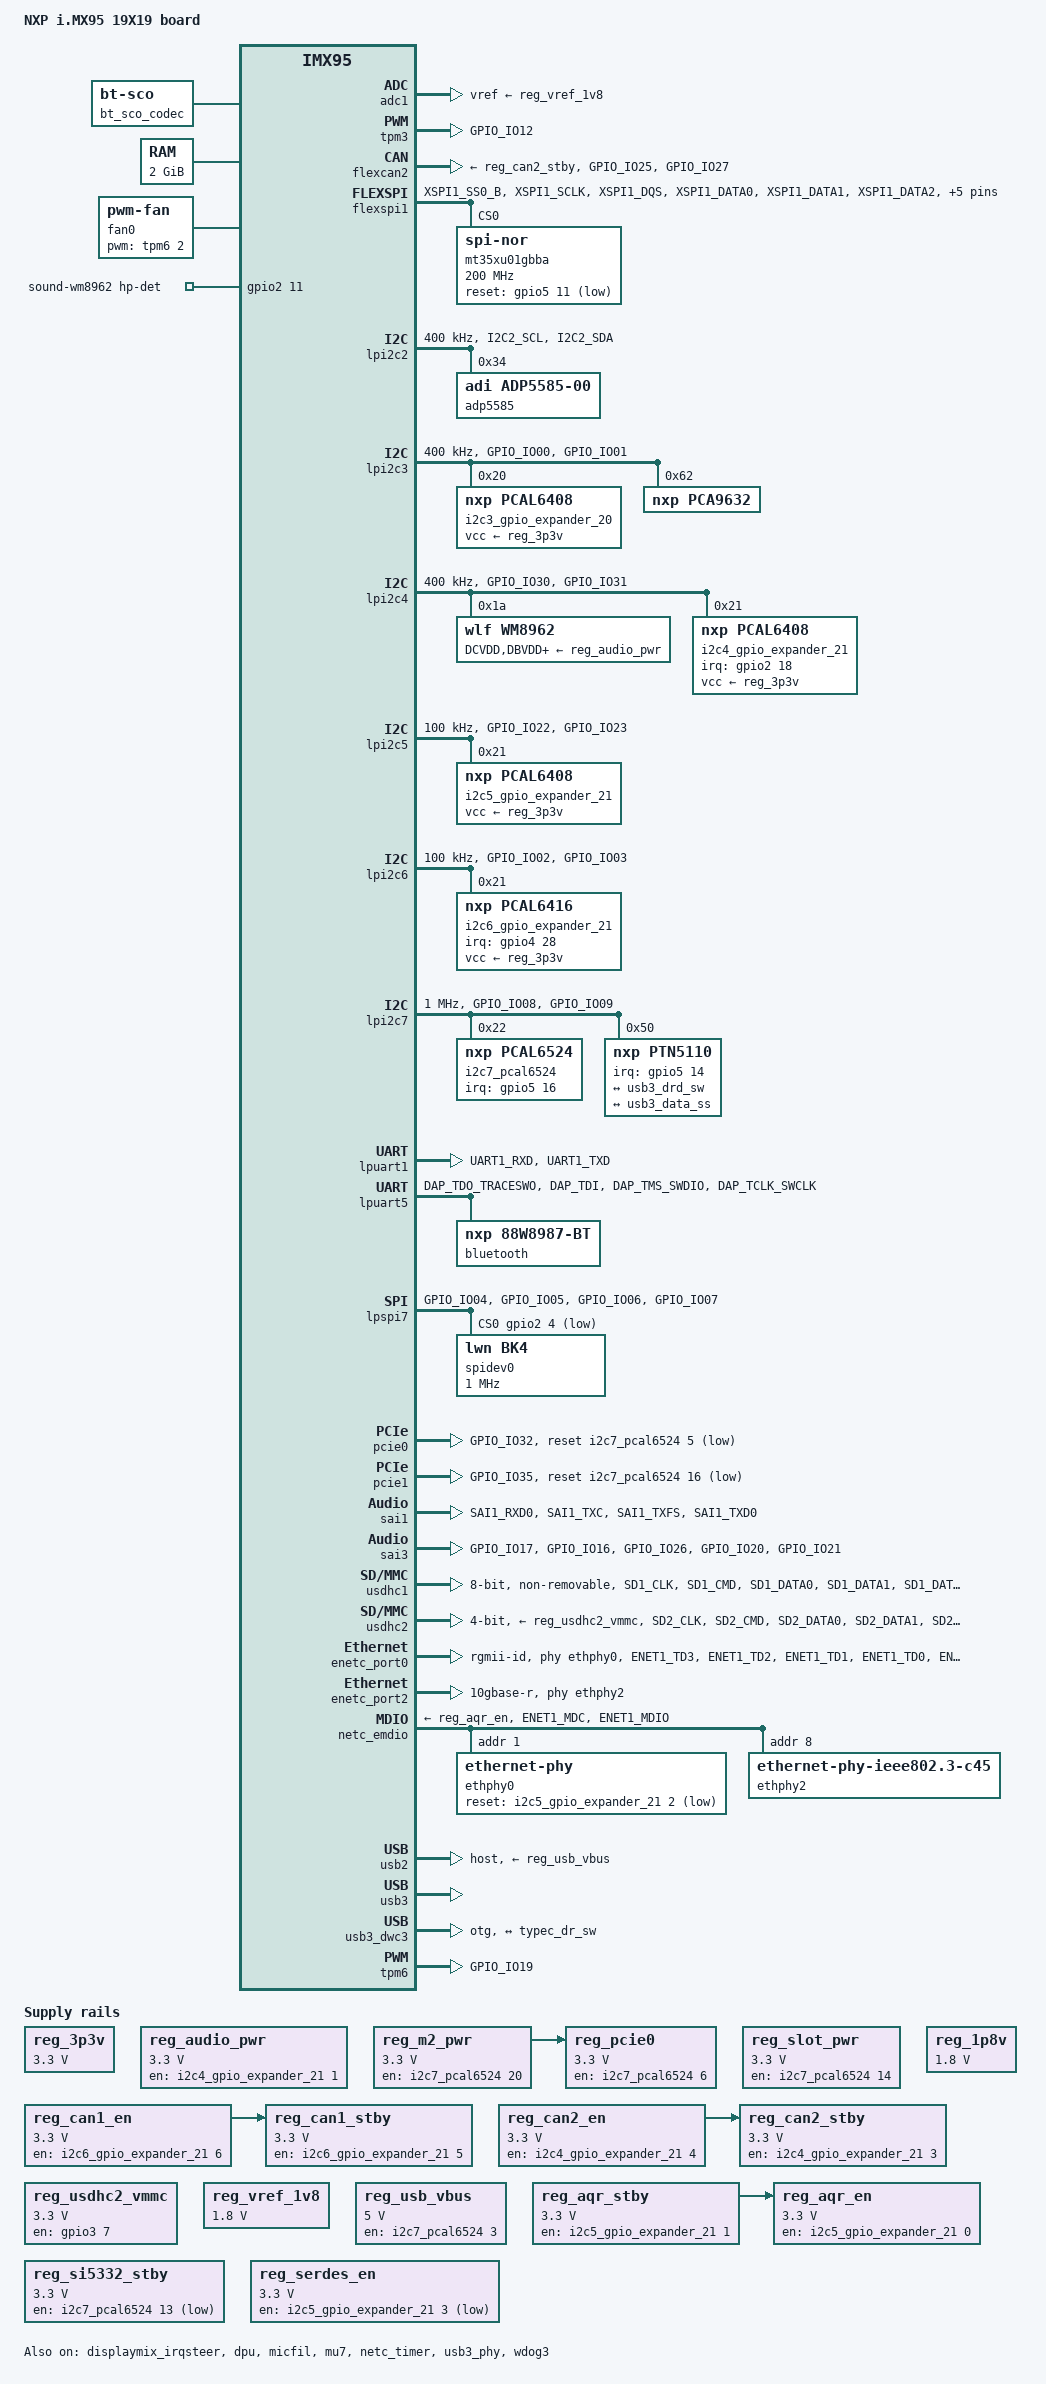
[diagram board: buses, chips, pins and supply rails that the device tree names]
// SPDX-License-Identifier: (GPL-2.0+ OR MIT)
/*
 * Copyright 2024 NXP
 */

/dts-v1/;

#include <dt-bindings/pwm/pwm.h>
#include <dt-bindings/phy/phy-imx8-pcie.h>
#include <dt-bindings/usb/pd.h>
#include "imx95.dtsi"

#define FALLING_EDGE		BIT(0)
#define RISING_EDGE		BIT(1)

#define BRD_SM_CTRL_SD3_WAKE		0x8000	/*!< PCAL6408A-0 */
#define BRD_SM_CTRL_PCIE1_WAKE		0x8001	/*!< PCAL6408A-4 */
#define BRD_SM_CTRL_BT_WAKE		0x8002	/*!< PCAL6408A-5 */
#define BRD_SM_CTRL_PCIE2_WAKE		0x8003	/*!< PCAL6408A-6 */
#define BRD_SM_CTRL_BUTTON		0x8004	/*!< PCAL6408A-7 */

/ {
	model = "NXP i.MX95 19X19 board";
	compatible = "fsl,imx95-19x19-evk", "fsl,imx95";

	aliases {
		mmc0 = &usdhc1;
		mmc1 = &usdhc2;
		serial0 = &lpuart1;
		ethernet0 = &enetc_port0;
		ethernet1 = &enetc_port2;
	};

	bt_sco_codec: audio-codec-bt-sco {
		#sound-dai-cells = <1>;
		compatible = "linux,bt-sco";
	};

	chosen {
		stdout-path = &lpuart1;
		#address-cells = <2>;
		#size-cells = <2>;
		/* will be updated by U-boot when booting Xen */
		module@0 {
			bootargs = "earlycon=xen console=hvc0 loglevel=8 root=/dev/mmcblk1p2 rw rootwait";
			compatible = "xen,linux-zimage", "xen,multiboot-module";
			reg = <0x00000000 0x9e000000 0x00000000 0x2000000>;
		};
	};

	memory@80000000 {
		device_type = "memory";
		reg = <0x0 0x80000000 0 0x80000000>;
	};

	fan0: pwm-fan {
		compatible = "pwm-fan";
		#cooling-cells = <2>;
		pwms = <&tpm6 2 4000000 PWM_POLARITY_INVERTED>;
		cooling-levels = <64 128 192 255>;
	};

	reserved-memory {
		#address-cells = <2>;
		#size-cells = <2>;
		ranges;

		linux_cma: linux,cma {
			compatible = "shared-dma-pool";
			alloc-ranges = <0 0x80000000 0 0x7f000000>;
			size = <0 0x3c000000>;
			linux,cma-default;
			reusable;
		};

		vpu_boot: vpu_boot@a0000000 {
			reg = <0 0xa0000000 0 0x100000>;
			no-map;
		};

		vdev0vring0: vdev0vring0@88000000 {
			reg = <0 0x88000000 0 0x8000>;
			no-map;
		};

		vdev0vring1: vdev0vring1@88008000 {
			reg = <0 0x88008000 0 0x8000>;
			no-map;
		};

		vdev1vring0: vdev1vring0@88010000 {
			reg = <0 0x88010000 0 0x8000>;
			no-map;
		};

		vdev1vring1: vdev1vring1@88018000 {
			reg = <0 0x88018000 0 0x8000>;
			no-map;
		};

		rsc_table: rsc-table@88220000 {
			reg = <0 0x88220000 0 0x1000>;
			no-map;
		};

		vdevbuffer: vdevbuffer@88020000 {
			compatible = "shared-dma-pool";
			reg = <0 0x88020000 0 0x100000>;
			no-map;
		};
	};

	reg_3p3v: regulator-3p3v {
		compatible = "regulator-fixed";
		regulator-max-microvolt = <3300000>;
		regulator-min-microvolt = <3300000>;
		regulator-name = "+V3.3_SW";
	};

	reg_audio_pwr: regulator-audio-pwr {
		compatible = "regulator-fixed";
		regulator-name = "audio-pwr";
		regulator-min-microvolt = <3300000>;
		regulator-max-microvolt = <3300000>;
		gpio = <&i2c4_gpio_expander_21 1 GPIO_ACTIVE_HIGH>;
		enable-active-high;
	};

	reg_m2_pwr: regulator-m2-pwr {
		compatible = "regulator-fixed";
		regulator-name = "M.2-power";
		regulator-min-microvolt = <3300000>;
		regulator-max-microvolt = <3300000>;
		gpio = <&i2c7_pcal6524 20 GPIO_ACTIVE_HIGH>;
		enable-active-high;
	};

	reg_pcie0: regulator-pcie {
		compatible = "regulator-fixed";
		regulator-name = "PCIE_WLAN_EN";
		regulator-min-microvolt = <3300000>;
		regulator-max-microvolt = <3300000>;
		vin-supply = <&reg_m2_pwr>;
		gpio = <&i2c7_pcal6524 6 GPIO_ACTIVE_HIGH>;
		enable-active-high;
		regulator-always-on;
	};

	reg_slot_pwr: regulator-slot-pwr {
		compatible = "regulator-fixed";
		regulator-name = "PCIe slot-power";
		regulator-min-microvolt = <3300000>;
		regulator-max-microvolt = <3300000>;
		gpio = <&i2c7_pcal6524 14 GPIO_ACTIVE_HIGH>;
		enable-active-high;
	};

	reg_1p8v: regulator-1p8v {
		compatible = "regulator-fixed";
		regulator-max-microvolt = <1800000>;
		regulator-min-microvolt = <1800000>;
		regulator-name = "+V1.8_SW";
	};

	reg_can1_stby: regulator-can1-stby {
		compatible = "regulator-fixed";
		regulator-name = "can1-stby";
		regulator-min-microvolt = <3300000>;
		regulator-max-microvolt = <3300000>;
		gpio = <&i2c6_gpio_expander_21 5 GPIO_ACTIVE_HIGH>;
		enable-active-high;
		vin-supply = <&reg_can1_en>;
	};

	reg_can1_en: regulator-can1-en {
		compatible = "regulator-fixed";
		regulator-name = "can1-en";
		regulator-min-microvolt = <3300000>;
		regulator-max-microvolt = <3300000>;
		gpio = <&i2c6_gpio_expander_21 6 GPIO_ACTIVE_HIGH>;
		enable-active-high;
	};

	reg_can2_stby: regulator-can2-stby {
		compatible = "regulator-fixed";
		regulator-name = "can2-stby";
		regulator-min-microvolt = <3300000>;
		regulator-max-microvolt = <3300000>;
		gpio = <&i2c4_gpio_expander_21 3 GPIO_ACTIVE_HIGH>;
		enable-active-high;
		vin-supply = <&reg_can2_en>;
	};

	reg_can2_en: regulator-can2-en {
		compatible = "regulator-fixed";
		regulator-name = "can2-en";
		regulator-min-microvolt = <3300000>;
		regulator-max-microvolt = <3300000>;
		gpio = <&i2c4_gpio_expander_21 4 GPIO_ACTIVE_HIGH>;
		enable-active-high;
	};

	reg_usdhc2_vmmc: regulator-usdhc2 {
		compatible = "regulator-fixed";
		pinctrl-names = "default";
		pinctrl-0 = <&pinctrl_reg_usdhc2_vmmc>;
		regulator-name = "VDD_SD2_3V3";
		regulator-min-microvolt = <3300000>;
		regulator-max-microvolt = <3300000>;
		gpio = <&gpio3 7 GPIO_ACTIVE_HIGH>;
		enable-active-high;
		off-on-delay-us = <12000>;
	};

	reg_vref_1v8: regulator-adc-vref {
		compatible = "regulator-fixed";
		regulator-name = "vref_1v8";
		regulator-min-microvolt = <1800000>;
		regulator-max-microvolt = <1800000>;
	};

	reg_usb_vbus: regulator-vbus {
		compatible = "regulator-fixed";
		regulator-name = "USB_VBUS";
		regulator-min-microvolt = <5000000>;
		regulator-max-microvolt = <5000000>;
		gpio = <&i2c7_pcal6524 3 GPIO_ACTIVE_HIGH>;
		enable-active-high;
	};

	sound-bt-sco {
		compatible = "simple-audio-card";
		simple-audio-card,name = "bt-sco-audio";
		simple-audio-card,format = "dsp_a";
		simple-audio-card,bitclock-inversion;
		simple-audio-card,frame-master = <&btcpu>;
		simple-audio-card,bitclock-master = <&btcpu>;

		btcpu: simple-audio-card,cpu {
			sound-dai = <&sai1>;
			dai-tdm-slot-num = <2>;
			dai-tdm-slot-width = <16>;
		};

		simple-audio-card,codec {
			sound-dai = <&bt_sco_codec 1>;
		};
	};

	sound-micfil {
		compatible = "fsl,imx-audio-card";
		model = "micfil-audio";

		pri-dai-link {
			link-name = "micfil hifi";
			format = "i2s";
			cpu {
				sound-dai = <&micfil>;
			};
		};
	};

	sound-wm8962 {
		compatible = "fsl,imx-audio-wm8962";
		pinctrl-names = "default";
		pinctrl-0 = <&pinctrl_hp>;
		model = "wm8962-audio";
		audio-cpu = <&sai3>;
		audio-codec = <&wm8962>;
		hp-det-gpio = <&gpio2 11 GPIO_ACTIVE_HIGH>;
		audio-routing = "Headphone Jack", "HPOUTL",
				"Headphone Jack", "HPOUTR",
				"Ext Spk", "SPKOUTL",
				"Ext Spk", "SPKOUTR",
				"AMIC", "MICBIAS",
				"IN3R", "AMIC",
				"IN1R", "AMIC";
	};

	reg_aqr_stby: regulator-aqr-stby {
		compatible = "regulator-fixed";
		regulator-name = "aqr-stby";
		regulator-min-microvolt = <3300000>;
		regulator-max-microvolt = <3300000>;
		gpio = <&i2c5_gpio_expander_21 1 GPIO_ACTIVE_HIGH>;
		enable-active-high;
	};

	reg_aqr_en: regulator-aqr-en {
		compatible = "regulator-fixed";
		regulator-name = "aqr-en";
		regulator-min-microvolt = <3300000>;
		regulator-max-microvolt = <3300000>;
		vin-supply = <&reg_aqr_stby>;
		gpio = <&i2c5_gpio_expander_21 0 GPIO_ACTIVE_HIGH>;
		enable-active-high;
	};

	reg_si5332_stby: regulator-si5332-stby {
		compatible = "regulator-fixed";
		regulator-name = "si5332-stby";
		regulator-min-microvolt = <3300000>;
		regulator-max-microvolt = <3300000>;
		gpio = <&i2c7_pcal6524 13 GPIO_ACTIVE_LOW>;
		regulator-always-on;
	};

	reg_serdes_en: regulator-mac-en {
		compatible = "regulator-fixed";
		regulator-name = "mac-en";
		regulator-min-microvolt = <3300000>;
		regulator-max-microvolt = <3300000>;
		gpio = <&i2c5_gpio_expander_21 3 GPIO_ACTIVE_LOW>;
	};

	cm7: imx95-cm7 {
		compatible = "fsl,imx95-cm7";
		mbox-names = "tx", "rx", "rxdb";
		mboxes = <&mu7 0 1
			  &mu7 1 1
			  &mu7 3 1>;
		memory-region = <&vdevbuffer>, <&vdev0vring0>, <&vdev0vring1>,
				<&vdev1vring0>, <&vdev1vring1>, <&rsc_table>;
		fsl,startup-delay-ms = <50>;
		status = "okay";
	};
};

&adc1 {
	vref-supply = <&reg_vref_1v8>;
	status = "okay";
};

&displaymix_irqsteer {
	status = "okay";
};

&dpu {
	status = "okay";
};

&tpm3 {
	pinctrl-names = "default";
	pinctrl-0 = <&pinctrl_tpm3>;
	status = "okay";
};

/* pin conflict with PDM */
&flexcan1 {
	pinctrl-names = "default";
	pinctrl-0 = <&pinctrl_flexcan1>;
	xceiver-supply = <&reg_can1_stby>;
	status = "disabled";
};

&flexcan2 {
	pinctrl-names = "default";
	pinctrl-0 = <&pinctrl_flexcan2>;
	xceiver-supply = <&reg_can2_stby>;
	status = "okay";
};

&flexspi1 {
	pinctrl-names = "default";
	pinctrl-0 = <&pinctrl_flexspi1>;
	status = "okay";

	mt35xu01gbba: flash@0 {
		compatible = "jedec,spi-nor";
		reg = <0>;
		pinctrl-names = "default";
		pinctrl-0 = <&pinctrl_flexspi1_reset>;
		reset-gpios = <&gpio5 11 GPIO_ACTIVE_LOW>;
		#address-cells = <1>;
		#size-cells = <1>;
		spi-max-frequency = <200000000>;
		spi-tx-bus-width = <8>;
		spi-rx-bus-width = <8>;
	};
};

&lpi2c2 {
	clock-frequency = <400000>;
	pinctrl-names = "default";
	pinctrl-0 = <&pinctrl_lpi2c2>;
	status = "okay";

	adp5585: io-expander@34 {
		compatible = "adi,adp5585-00", "adi,adp5585";
		reg = <0x34>;
		gpio-controller;
		#gpio-cells = <2>;
		gpio-reserved-ranges = <5 1>;
		#pwm-cells = <3>;
	};
};

&lpi2c3 {
	clock-frequency = <400000>;
	pinctrl-names = "default";
	pinctrl-0 = <&pinctrl_lpi2c3>;
	status = "okay";

	i2c3_gpio_expander_20: i2c3-gpio-expander@20 {
		compatible = "nxp,pcal6408";
		#gpio-cells = <2>;
		gpio-controller;
		reg = <0x20>;
		vcc-supply = <&reg_3p3v>;
	};

	pca9632: pca9632@62 {
		compatible = "nxp,pca9632";
		#address-cells = <1>;
		#size-cells = <0>;
		reg = <0x62>;

		led_baclklight: led@0 {
			label = "backlight";
			reg = <0>;
			linux,default-trigger = "none";
		};
	};
};

&lpi2c4 {
	clock-frequency = <400000>;
	pinctrl-names = "default";
	pinctrl-0 = <&pinctrl_lpi2c4>;
	status = "okay";

	wm8962: audio-codec@1a {
		compatible = "wlf,wm8962";
		reg = <0x1a>;
		clocks = <&scmi_clk IMX95_CLK_SAI3>;
		DCVDD-supply = <&reg_audio_pwr>;
		DBVDD-supply = <&reg_audio_pwr>;
		AVDD-supply = <&reg_audio_pwr>;
		CPVDD-supply = <&reg_audio_pwr>;
		MICVDD-supply = <&reg_audio_pwr>;
		PLLVDD-supply = <&reg_audio_pwr>;
		SPKVDD1-supply = <&reg_audio_pwr>;
		SPKVDD2-supply = <&reg_audio_pwr>;
		gpio-cfg = < 0x0000 /* 0:Default */
			     0x0000 /* 1:Default */
			     0x0000 /* 2:FN_DMICCLK */
			     0x0000 /* 3:Default */
			     0x0000 /* 4:FN_DMICCDAT */
			     0x0000 /* 5:Default */
			   >;
	};

	i2c4_gpio_expander_21: gpio@21 {
		compatible = "nxp,pcal6408";
		reg = <0x21>;
		#gpio-cells = <2>;
		gpio-controller;
		interrupt-controller;
		#interrupt-cells = <2>;
		interrupt-parent = <&gpio2>;
		interrupts = <18 IRQ_TYPE_LEVEL_LOW>;
		pinctrl-names = "default";
		pinctrl-0 = <&pinctrl_i2c4_pcal6408>;
		vcc-supply = <&reg_3p3v>;
	};
};

&lpi2c5 {
	clock-frequency = <100000>;
	pinctrl-names = "default";
	pinctrl-0 = <&pinctrl_lpi2c5>;
	status = "okay";

	i2c5_gpio_expander_21: i2c5-gpio-expander@21 {
		compatible = "nxp,pcal6408";
		#gpio-cells = <2>;
		gpio-controller;
		reg = <0x21>;
		vcc-supply = <&reg_3p3v>;
	};
};

&lpi2c6 {
	clock-frequency = <100000>;
	pinctrl-names = "default";
	pinctrl-0 = <&pinctrl_lpi2c6>;
	status = "okay";

	i2c6_gpio_expander_21: i2c6-gpio-expander@21 {
		compatible = "nxp,pcal6416";
		#gpio-cells = <2>;
		gpio-controller;
		reg = <0x21>;
		interrupt-controller;
		#interrupt-cells = <2>;
		interrupt-parent = <&gpio4>;
		interrupts = <28 IRQ_TYPE_LEVEL_LOW>;
		pinctrl-names = "default";
		pinctrl-0 = <&pinctrl_pcal6416>;
		vcc-supply = <&reg_3p3v>;
	};
};

&lpi2c7 {
	clock-frequency = <1000000>;
	pinctrl-names = "default";
	pinctrl-0 = <&pinctrl_lpi2c7>;
	status = "okay";

	i2c7_pcal6524: i2c7-gpio@22 {
		compatible = "nxp,pcal6524";
		reg = <0x22>;
		pinctrl-names = "default";
		pinctrl-0 = <&pinctrl_i2c7_pcal6524>;
		gpio-controller;
		#gpio-cells = <2>;
		interrupt-controller;
		#interrupt-cells = <2>;
		interrupt-parent = <&gpio5>;
		interrupts = <16 IRQ_TYPE_LEVEL_LOW>;
	};

	ptn5110: tcpc@50 {
		compatible = "nxp,ptn5110";
		reg = <0x50>;
		interrupt-parent = <&gpio5>;
		interrupts = <14 IRQ_TYPE_LEVEL_LOW>;
		pinctrl-names = "default";
		pinctrl-0 = <&pinctrl_ptn5110>;

		port {
			typec_dr_sw: endpoint {
				remote-endpoint = <&usb3_drd_sw>;
			};
		};

		typec_con: connector {
			compatible = "usb-c-connector";
			label = "USB-C";
			power-role = "dual";
			data-role = "dual";
			try-power-role = "sink";
			source-pdos = <PDO_FIXED(5000, 3000, PDO_FIXED_USB_COMM)>;
			sink-pdos = <PDO_FIXED(5000, 0, PDO_FIXED_USB_COMM)>;
			op-sink-microwatt = <0>;
			self-powered;

			ports {
				#address-cells = <1>;
				#size-cells = <0>;

				port@1 {
					reg = <1>;
					typec_con_ss: endpoint {
						remote-endpoint = <&usb3_data_ss>;
					};
				};
			};
		};
	};
};

&lpuart1 {
	/* console */
	pinctrl-names = "default";
	pinctrl-0 = <&pinctrl_uart1>;
	status = "okay";
};

&lpuart5 {
	/* BT */
	pinctrl-names = "default";
	pinctrl-0 = <&pinctrl_uart5>;
	status = "okay";

	bluetooth {
		compatible = "nxp,88w8987-bt";
		/* U-blox 88Q9098 module use the 3Mbps by default */
		fw-init-baudrate = <3000000>;
	};
};

&lpspi7 {
	fsl,spi-num-chipselects = <1>;
	pinctrl-names = "default";
	pinctrl-0 = <&pinctrl_lpspi7>;
	cs-gpios = <&gpio2 4 GPIO_ACTIVE_LOW>;
	status = "okay";

	spidev0: spi@0 {
		reg = <0>;
		compatible = "lwn,bk4";
		spi-max-frequency = <1000000>;
	};
};

&micfil {
	#sound-dai-cells = <0>;
	pinctrl-names = "default";
	pinctrl-0 = <&pinctrl_pdm>;
	assigned-clocks = <&scmi_clk IMX95_CLK_AUDIOPLL1_VCO>,
			  <&scmi_clk IMX95_CLK_AUDIOPLL2_VCO>,
			  <&scmi_clk IMX95_CLK_AUDIOPLL1>,
			  <&scmi_clk IMX95_CLK_AUDIOPLL2>,
			  <&scmi_clk IMX95_CLK_PDM>;
	assigned-clock-parents = <0>, <0>, <0>, <0>,
				 <&scmi_clk IMX95_CLK_AUDIOPLL1>;
	assigned-clock-rates = <3932160000>,
			       <3612672000>, <393216000>,
			       <361267200>, <49152000>;
	status = "okay";
};

&mu7 {
	status = "okay";
};

&pcie0 {
	pinctrl-0 = <&pinctrl_pcie0>;
	pinctrl-names = "default";
	reset-gpio = <&i2c7_pcal6524 5 GPIO_ACTIVE_LOW>;
	vpcie-supply = <&reg_pcie0>;
	status = "okay";
};

&pcie1 {
	pinctrl-0 = <&pinctrl_pcie1>;
	pinctrl-names = "default";
	reset-gpio = <&i2c7_pcal6524 16 GPIO_ACTIVE_LOW>;
	vpcie-supply = <&reg_slot_pwr>;
	status = "okay";
};

&pcie1_ep {
	pinctrl-0 = <&pinctrl_pcie1>;
	pinctrl-names = "default";
	vpcie-supply = <&reg_slot_pwr>;
	status = "disabled";
};

&sai1 {
	#sound-dai-cells = <0>;
	pinctrl-names = "default";
	pinctrl-0 = <&pinctrl_sai1>;
	assigned-clocks = <&scmi_clk IMX95_CLK_AUDIOPLL1_VCO>,
			  <&scmi_clk IMX95_CLK_AUDIOPLL2_VCO>,
			  <&scmi_clk IMX95_CLK_AUDIOPLL1>,
			  <&scmi_clk IMX95_CLK_AUDIOPLL2>,
			  <&scmi_clk IMX95_CLK_SAI1>;
	assigned-clock-parents = <0>, <0>, <0>, <0>,
				 <&scmi_clk IMX95_CLK_AUDIOPLL1>;
	assigned-clock-rates = <3932160000>,
			       <3612672000>, <393216000>,
			       <361267200>, <12288000>;
	fsl,sai-mclk-direction-output;
	status = "okay";
};

&sai3 {
	#sound-dai-cells = <0>;
	pinctrl-names = "default";
	pinctrl-0 = <&pinctrl_sai3>;
	assigned-clocks = <&scmi_clk IMX95_CLK_AUDIOPLL1_VCO>,
			  <&scmi_clk IMX95_CLK_AUDIOPLL2_VCO>,
			  <&scmi_clk IMX95_CLK_AUDIOPLL1>,
			  <&scmi_clk IMX95_CLK_AUDIOPLL2>,
			  <&scmi_clk IMX95_CLK_SAI3>;
	assigned-clock-parents = <0>, <0>, <0>, <0>,
				 <&scmi_clk IMX95_CLK_AUDIOPLL1>;
	assigned-clock-rates = <3932160000>,
			       <3612672000>, <393216000>,
			       <361267200>, <12288000>;
	fsl,sai-mclk-direction-output;
	status = "okay";
};

&usdhc1 {
	pinctrl-names = "default", "state_100mhz", "state_200mhz", "sleep";
	pinctrl-0 = <&pinctrl_usdhc1>;
	pinctrl-1 = <&pinctrl_usdhc1_100mhz>;
	pinctrl-2 = <&pinctrl_usdhc1_200mhz>;
	pinctrl-3 = <&pinctrl_usdhc1>;
	bus-width = <8>;
	non-removable;
	no-sdio;
	no-sd;
	status = "okay";
};

&usdhc2 {
	pinctrl-names = "default", "state_100mhz", "state_200mhz", "sleep";
	pinctrl-0 = <&pinctrl_usdhc2>, <&pinctrl_usdhc2_gpio>;
	pinctrl-1 = <&pinctrl_usdhc2_100mhz>, <&pinctrl_usdhc2_gpio>;
	pinctrl-2 = <&pinctrl_usdhc2_200mhz>, <&pinctrl_usdhc2_gpio>;
	pinctrl-3 = <&pinctrl_usdhc2>, <&pinctrl_usdhc2_gpio>;
	cd-gpios = <&gpio3 0 GPIO_ACTIVE_LOW>;
	fsl,cd-gpio-wakeup-disable;
	vmmc-supply = <&reg_usdhc2_vmmc>;
	bus-width = <4>;
	status = "okay";
};

&enetc_port0 {
	pinctrl-names = "default";
	pinctrl-0 = <&pinctrl_enetc0>;
	phy-handle = <&ethphy0>;
	phy-mode = "rgmii-id";
	status = "okay";
};

&enetc_port2 {
	phy-handle = <&ethphy2>;
	phy-mode = "10gbase-r";
	serdes-supply = <&reg_serdes_en>;
	managed = "in-band-status";
	status = "okay";
};

&netc_timer {
	status = "okay";
};

&netc_emdio {
	pinctrl-names = "default";
	pinctrl-0 = <&pinctrl_emdio>;
	phy-supply = <&reg_aqr_en>;
	status = "okay";

	ethphy0: ethernet-phy@1 {
		reg = <1>;
		reset-gpios = <&i2c5_gpio_expander_21 2 GPIO_ACTIVE_LOW>;
		reset-assert-us = <10000>;
		reset-deassert-us = <80000>;
		realtek,clkout-disable;
	};

	ethphy2: ethernet-phy@8 {
		compatible = "ethernet-phy-ieee802.3-c45";
		reg = <8>;
	};
};

&usb2 {
	dr_mode = "host";
	vbus-supply = <&reg_usb_vbus>;
	disable-over-current;
	status = "okay";
};

&usb3 {
	status = "okay";
};

&usb3_phy {
	status = "okay";
	port {
		usb3_data_ss: endpoint {
			remote-endpoint = <&typec_con_ss>;
		};
	};
};

&usb3_dwc3 {
	dr_mode = "otg";
	hnp-disable;
	srp-disable;
	adp-disable;
	usb-role-switch;
	role-switch-default-mode = "none";
	snps,dis-u1-entry-quirk;
	snps,dis-u2-entry-quirk;
	status = "okay";

	port {
		usb3_drd_sw: endpoint {
			remote-endpoint = <&typec_dr_sw>;
		};
	};
};

&scmi_misc {
	nxp,ctrl-ids = <BRD_SM_CTRL_SD3_WAKE		1
			BRD_SM_CTRL_PCIE1_WAKE		1
			BRD_SM_CTRL_BT_WAKE		1
			BRD_SM_CTRL_PCIE2_WAKE		1
			BRD_SM_CTRL_BUTTON		1>;
};

&wdog3 {
	fsl,ext-reset-output;
	status = "okay";
};

&scmi_iomuxc {
	pinctrl_flexspi1: flexspi1grp {
		fsl,pins = <
			IMX95_PAD_XSPI1_SS0_B__FLEXSPI1_A_SS0_B			0x3fe
			IMX95_PAD_XSPI1_SCLK__FLEXSPI1_A_SCLK			0x3fe
			IMX95_PAD_XSPI1_DQS__FLEXSPI1_A_DQS			0x3fe
			IMX95_PAD_XSPI1_DATA0__FLEXSPI1_A_DATA_BIT0		0x3fe
			IMX95_PAD_XSPI1_DATA1__FLEXSPI1_A_DATA_BIT1		0x3fe
			IMX95_PAD_XSPI1_DATA2__FLEXSPI1_A_DATA_BIT2		0x3fe
			IMX95_PAD_XSPI1_DATA3__FLEXSPI1_A_DATA_BIT3		0x3fe
			IMX95_PAD_XSPI1_DATA4__FLEXSPI1_A_DATA_BIT4		0x3fe
			IMX95_PAD_XSPI1_DATA5__FLEXSPI1_A_DATA_BIT5		0x3fe
			IMX95_PAD_XSPI1_DATA6__FLEXSPI1_A_DATA_BIT6		0x3fe
			IMX95_PAD_XSPI1_DATA7__FLEXSPI1_A_DATA_BIT7		0x3fe
		>;
	};

	pinctrl_flexspi1_reset: flexspi1-reset-grp {
		fsl,pins = <
			IMX95_PAD_XSPI1_SS1_B__GPIO5_IO_BIT11			0x3fe
		>;
	};

	pinctrl_hp: hpgrp {
		fsl,pins = <
			IMX95_PAD_GPIO_IO11__GPIO2_IO_BIT11		0x31e
		>;
	};

	pinctrl_i2c4_pcal6408: i2c4pcal6498grp {
		fsl,pins = <
			IMX95_PAD_GPIO_IO18__GPIO2_IO_BIT18			0x31e
		>;
	};

	pinctrl_i2c7_pcal6524: i2c7pcal6524grp {
		fsl,pins = <
			IMX95_PAD_GPIO_IO36__GPIO5_IO_BIT16			0x31e
		>;
	};

	pinctrl_tpm3: tpm3grp {
		fsl,pins = <
			IMX95_PAD_GPIO_IO12__TPM3_CH2			0x51e
		>;
	};

	pinctrl_flexcan1: flexcan1grp {
		fsl,pins = <
			IMX95_PAD_PDM_CLK__AONMIX_TOP_CAN1_TX		0x39e
			IMX95_PAD_PDM_BIT_STREAM0__AONMIX_TOP_CAN1_RX	0x39e
		>;
	};

	pinctrl_flexcan2: flexcan2grp {
		fsl,pins = <
			IMX95_PAD_GPIO_IO25__CAN2_TX			0x39e
			IMX95_PAD_GPIO_IO27__CAN2_RX			0x39e
		>;
	};

	pinctrl_lpi2c1: lpi2c1grp {
		fsl,pins = <
			IMX95_PAD_I2C1_SCL__AONMIX_TOP_LPI2C1_SCL	0x40000b9e
			IMX95_PAD_I2C1_SDA__AONMIX_TOP_LPI2C1_SDA	0x40000b9e
		>;
	};

	pinctrl_lpi2c2: lpi2c2grp {
		fsl,pins = <
			IMX95_PAD_I2C2_SCL__AONMIX_TOP_LPI2C2_SCL	0x40000b9e
			IMX95_PAD_I2C2_SDA__AONMIX_TOP_LPI2C2_SDA	0x40000b9e
		>;
	};

	pinctrl_lpi2c3: lpi2c3grp {
		fsl,pins = <
			IMX95_PAD_GPIO_IO00__LPI2C3_SDA			0x40000b9e
			IMX95_PAD_GPIO_IO01__LPI2C3_SCL			0x40000b9e
		>;
	};

	pinctrl_lpi2c4: lpi2c4grp {
		fsl,pins = <
			IMX95_PAD_GPIO_IO30__LPI2C4_SDA			0x40000b9e
			IMX95_PAD_GPIO_IO31__LPI2C4_SCL			0x40000b9e
		>;
	};

	pinctrl_lpi2c5: lpi2c5grp {
		fsl,pins = <
			IMX95_PAD_GPIO_IO22__LPI2C5_SDA			0x40000b9e
			IMX95_PAD_GPIO_IO23__LPI2C5_SCL			0x40000b9e
		>;
	};

	pinctrl_lpi2c6: lpi2c6grp {
		fsl,pins = <
			IMX95_PAD_GPIO_IO02__LPI2C6_SDA			0x40000b9e
			IMX95_PAD_GPIO_IO03__LPI2C6_SCL			0x40000b9e
		>;
	};

	pinctrl_lpi2c7: lpi2c7grp {
		fsl,pins = <
			IMX95_PAD_GPIO_IO08__LPI2C7_SDA			0x40000b9e
			IMX95_PAD_GPIO_IO09__LPI2C7_SCL			0x40000b9e
		>;
	};

	pinctrl_pcie0: pcie0grp {
		fsl,pins = <
			IMX95_PAD_GPIO_IO32__HSIOMIX_TOP_PCIE1_CLKREQ_B		0x4000031e
		>;
	};

	pinctrl_pcie1: pcie1grp {
		fsl,pins = <
			IMX95_PAD_GPIO_IO35__HSIOMIX_TOP_PCIE2_CLKREQ_B		0x4000031e
		>;
	};

	pinctrl_pdm: pdmgrp {
		fsl,pins = <
			IMX95_PAD_PDM_CLK__AONMIX_TOP_PDM_CLK				0x31e
			IMX95_PAD_PDM_BIT_STREAM0__AONMIX_TOP_PDM_BIT_STREAM_BIT0	0x31e
		>;
	};

	pinctrl_ptn5110: ptn5110grp {
		fsl,pins = <
			IMX95_PAD_GPIO_IO34__GPIO5_IO_BIT14                     0x31e
		>;
	};

	pinctrl_sai1: sai1grp {
		fsl,pins = <
			IMX95_PAD_SAI1_RXD0__AONMIX_TOP_SAI1_RX_DATA_BIT0    0x31e
			IMX95_PAD_SAI1_TXC__AONMIX_TOP_SAI1_TX_BCLK      0x31e
			IMX95_PAD_SAI1_TXFS__AONMIX_TOP_SAI1_TX_SYNC     0x31e
			IMX95_PAD_SAI1_TXD0__AONMIX_TOP_SAI1_TX_DATA_BIT0    0x31e
		>;
	};

	pinctrl_sai2: sai2grp {
		fsl,pins = <
			IMX95_PAD_ENET2_MDIO__NETCMIX_TOP_SAI2_RX_BCLK			0x31e
			IMX95_PAD_ENET2_MDC__NETCMIX_TOP_SAI2_RX_SYNC			0x31e
			IMX95_PAD_ENET2_TD3__NETCMIX_TOP_SAI2_RX_DATA_BIT0		0x31e
			IMX95_PAD_ENET2_TD2__NETCMIX_TOP_SAI2_RX_DATA_BIT1		0x31e
			IMX95_PAD_ENET2_TXC__NETCMIX_TOP_SAI2_TX_BCLK			0x31e
			IMX95_PAD_ENET2_TX_CTL__NETCMIX_TOP_SAI2_TX_SYNC		0x31e
			IMX95_PAD_ENET2_RX_CTL__NETCMIX_TOP_SAI2_TX_DATA_BIT0		0x31e
			IMX95_PAD_ENET2_RXC__NETCMIX_TOP_SAI2_TX_DATA_BIT1		0x31e
			IMX95_PAD_ENET2_RD0__NETCMIX_TOP_SAI2_TX_DATA_BIT2		0x31e
			IMX95_PAD_ENET2_RD1__NETCMIX_TOP_SAI2_TX_DATA_BIT3		0x31e
			IMX95_PAD_ENET2_RD2__NETCMIX_TOP_SAI2_MCLK			0x31e
		>;
	};

	pinctrl_sai3: sai3grp {
		fsl,pins = <
			IMX95_PAD_GPIO_IO17__SAI3_MCLK				0x31e
			IMX95_PAD_GPIO_IO16__SAI3_TX_BCLK			0x31e
			IMX95_PAD_GPIO_IO26__SAI3_TX_SYNC			0x31e
			IMX95_PAD_GPIO_IO20__SAI3_RX_DATA_BIT0			0x31e
			IMX95_PAD_GPIO_IO21__SAI3_TX_DATA_BIT0			0x31e
		>;
	};

	pinctrl_tpm6: tpm6grp {
		fsl,pins = <
			IMX95_PAD_GPIO_IO19__TPM6_CH2			0x51e
		>;
	};

	pinctrl_uart1: uart1grp {
		fsl,pins = <
			IMX95_PAD_UART1_RXD__AONMIX_TOP_LPUART1_RX      0x31e
			IMX95_PAD_UART1_TXD__AONMIX_TOP_LPUART1_TX      0x31e
		>;
	};

	pinctrl_uart5: uart5grp {
		fsl,pins = <
			IMX95_PAD_DAP_TDO_TRACESWO__LPUART5_TX			0x31e
			IMX95_PAD_DAP_TDI__LPUART5_RX				0x31e
			IMX95_PAD_DAP_TMS_SWDIO__LPUART5_RTS_B			0x31e
			IMX95_PAD_DAP_TCLK_SWCLK__LPUART5_CTS_B			0x31e
		>;
	};

	pinctrl_lpspi7: lpspi7grp {
		fsl,pins = <
			IMX95_PAD_GPIO_IO04__GPIO2_IO_BIT4	0x3fe
			IMX95_PAD_GPIO_IO05__LPSPI7_SIN		0x3fe
			IMX95_PAD_GPIO_IO06__LPSPI7_SOUT	0x3fe
			IMX95_PAD_GPIO_IO07__LPSPI7_SCK		0x3fe
		>;
	};

	pinctrl_emdio: emdiogrp{
		fsl,pins = <
			IMX95_PAD_ENET1_MDC__NETCMIX_TOP_NETC_MDC		0x57e
			IMX95_PAD_ENET1_MDIO__NETCMIX_TOP_NETC_MDIO		0x97e
		>;
	};

	pinctrl_enetc0: enetc0grp {
		fsl,pins = <
			IMX95_PAD_ENET1_TD3__NETCMIX_TOP_ETH0_RGMII_TD3		0x57e
			IMX95_PAD_ENET1_TD2__NETCMIX_TOP_ETH0_RGMII_TD2		0x57e
			IMX95_PAD_ENET1_TD1__NETCMIX_TOP_ETH0_RGMII_TD1		0x57e
			IMX95_PAD_ENET1_TD0__NETCMIX_TOP_ETH0_RGMII_TD0		0x57e
			IMX95_PAD_ENET1_TX_CTL__NETCMIX_TOP_ETH0_RGMII_TX_CTL	0x57e
			IMX95_PAD_ENET1_TXC__NETCMIX_TOP_ETH0_RGMII_TX_CLK	0x58e
			IMX95_PAD_ENET1_RX_CTL__NETCMIX_TOP_ETH0_RGMII_RX_CTL	0x57e
			IMX95_PAD_ENET1_RXC__NETCMIX_TOP_ETH0_RGMII_RX_CLK	0x58e
			IMX95_PAD_ENET1_RD0__NETCMIX_TOP_ETH0_RGMII_RD0		0x57e
			IMX95_PAD_ENET1_RD1__NETCMIX_TOP_ETH0_RGMII_RD1		0x57e
			IMX95_PAD_ENET1_RD2__NETCMIX_TOP_ETH0_RGMII_RD2		0x57e
			IMX95_PAD_ENET1_RD3__NETCMIX_TOP_ETH0_RGMII_RD3		0x57e
		>;
	};

	pinctrl_i2c1_pcal6408: i2c1pcal6498grp {
		fsl,pins = <
			IMX95_PAD_PDM_BIT_STREAM1__AONMIX_TOP_GPIO1_IO_BIT10	0x31e
		>;
	};

	pinctrl_i2c2_pcal6524: i2c2pcal6524grp {
		fsl,pins = <
			IMX95_PAD_GPIO_IO34__GPIO5_IO_BIT14			0x31e
		>;
	};

	pinctrl_mipi_dsi_csi: mipidsigrp {
		fsl,pins = <
			IMX95_PAD_CCM_CLKO2__GPIO3_IO_BIT27			0x31e
		>;
	};

	pinctrl_pcal6416: pcal6416grp {
		fsl,pins = <
			IMX95_PAD_CCM_CLKO3__GPIO4_IO_BIT28			0x31e
		>;
	};

	pinctrl_spdif: spdifgrp {
		fsl,pins = <
			IMX95_PAD_GPIO_IO22__SPDIF_IN				0x31e
			IMX95_PAD_GPIO_IO23__SPDIF_OUT				0x31e
		>;
	};

	pinctrl_usdhc1: usdhc1grp {
		fsl,pins = <
			IMX95_PAD_SD1_CLK__USDHC1_CLK			0x158e
			IMX95_PAD_SD1_CMD__USDHC1_CMD			0x138e
			IMX95_PAD_SD1_DATA0__USDHC1_DATA0		0x138e
			IMX95_PAD_SD1_DATA1__USDHC1_DATA1		0x138e
			IMX95_PAD_SD1_DATA2__USDHC1_DATA2		0x138e
			IMX95_PAD_SD1_DATA3__USDHC1_DATA3		0x138e
			IMX95_PAD_SD1_DATA4__USDHC1_DATA4		0x138e
			IMX95_PAD_SD1_DATA5__USDHC1_DATA5		0x138e
			IMX95_PAD_SD1_DATA6__USDHC1_DATA6		0x138e
			IMX95_PAD_SD1_DATA7__USDHC1_DATA7		0x138e
			IMX95_PAD_SD1_STROBE__USDHC1_STROBE		0x158e
		>;
	};

	pinctrl_usdhc1_100mhz: usdhc1-100mhzgrp {
		fsl,pins = <
			IMX95_PAD_SD1_CLK__USDHC1_CLK			0x158e
			IMX95_PAD_SD1_CMD__USDHC1_CMD			0x138e
			IMX95_PAD_SD1_DATA0__USDHC1_DATA0		0x138e
			IMX95_PAD_SD1_DATA1__USDHC1_DATA1		0x138e
			IMX95_PAD_SD1_DATA2__USDHC1_DATA2		0x138e
			IMX95_PAD_SD1_DATA3__USDHC1_DATA3		0x138e
			IMX95_PAD_SD1_DATA4__USDHC1_DATA4		0x138e
			IMX95_PAD_SD1_DATA5__USDHC1_DATA5		0x138e
			IMX95_PAD_SD1_DATA6__USDHC1_DATA6		0x138e
			IMX95_PAD_SD1_DATA7__USDHC1_DATA7		0x138e
			IMX95_PAD_SD1_STROBE__USDHC1_STROBE		0x158e
		>;
	};

	pinctrl_usdhc1_200mhz: usdhc1-200mhzgrp {
		fsl,pins = <
			IMX95_PAD_SD1_CLK__USDHC1_CLK			0x15fe
			IMX95_PAD_SD1_CMD__USDHC1_CMD			0x13fe
			IMX95_PAD_SD1_DATA0__USDHC1_DATA0		0x13fe
			IMX95_PAD_SD1_DATA1__USDHC1_DATA1		0x13fe
			IMX95_PAD_SD1_DATA2__USDHC1_DATA2		0x13fe
			IMX95_PAD_SD1_DATA3__USDHC1_DATA3		0x13fe
			IMX95_PAD_SD1_DATA4__USDHC1_DATA4		0x13fe
			IMX95_PAD_SD1_DATA5__USDHC1_DATA5		0x13fe
			IMX95_PAD_SD1_DATA6__USDHC1_DATA6		0x13fe
			IMX95_PAD_SD1_DATA7__USDHC1_DATA7		0x13fe
			IMX95_PAD_SD1_STROBE__USDHC1_STROBE		0x15fe
		>;
	};

	pinctrl_reg_usdhc2_vmmc: regusdhc2vmmcgrp {
		fsl,pins = <
			IMX95_PAD_SD2_RESET_B__GPIO3_IO_BIT7		0x31e
		>;
	};

	pinctrl_usdhc2_gpio: usdhc2gpiogrp {
		fsl,pins = <
			IMX95_PAD_SD2_CD_B__GPIO3_IO_BIT0		0x31e
		>;
	};

	pinctrl_usdhc2: usdhc2grp {
		fsl,pins = <
			IMX95_PAD_SD2_CLK__USDHC2_CLK			0x158e
			IMX95_PAD_SD2_CMD__USDHC2_CMD			0x138e
			IMX95_PAD_SD2_DATA0__USDHC2_DATA0		0x138e
			IMX95_PAD_SD2_DATA1__USDHC2_DATA1		0x138e
			IMX95_PAD_SD2_DATA2__USDHC2_DATA2		0x138e
			IMX95_PAD_SD2_DATA3__USDHC2_DATA3		0x138e
			IMX95_PAD_SD2_VSELECT__USDHC2_VSELECT		0x51e
		>;
	};

	pinctrl_usdhc2_100mhz: usdhc2-100mhzgrp {
		fsl,pins = <
			IMX95_PAD_SD2_CLK__USDHC2_CLK			0x158e
			IMX95_PAD_SD2_CMD__USDHC2_CMD			0x138e
			IMX95_PAD_SD2_DATA0__USDHC2_DATA0		0x138e
			IMX95_PAD_SD2_DATA1__USDHC2_DATA1		0x138e
			IMX95_PAD_SD2_DATA2__USDHC2_DATA2		0x138e
			IMX95_PAD_SD2_DATA3__USDHC2_DATA3		0x138e
			IMX95_PAD_SD2_VSELECT__USDHC2_VSELECT		0x51e
		>;
	};

	pinctrl_usdhc2_200mhz: usdhc2-200mhzgrp {
		fsl,pins = <
			IMX95_PAD_SD2_CLK__USDHC2_CLK			0x15fe
			IMX95_PAD_SD2_CMD__USDHC2_CMD			0x13fe
			IMX95_PAD_SD2_DATA0__USDHC2_DATA0		0x13fe
			IMX95_PAD_SD2_DATA1__USDHC2_DATA1		0x13fe
			IMX95_PAD_SD2_DATA2__USDHC2_DATA2		0x13fe
			IMX95_PAD_SD2_DATA3__USDHC2_DATA3		0x13fe
			IMX95_PAD_SD2_VSELECT__USDHC2_VSELECT		0x51e
		>;
	};
};

&thermal_zones {
	a55-thermal {
		trips {
			atrip2: trip2 {
				temperature = <55000>;
				hysteresis = <2000>;
				type = "active";
			};

			atrip3: trip3 {
				temperature = <65000>;
				hysteresis = <2000>;
				type = "active";
			};

			atrip4: trip4 {
				temperature = <75000>;
				hysteresis = <2000>;
				type = "active";
			};
		};

		cooling-maps {
			map1 {
				trip = <&atrip2>;
				cooling-device = <&fan0 0 1>;
			};

			map2 {
				trip = <&atrip3>;
				cooling-device = <&fan0 1 2>;
			};

			map3 {
				trip = <&atrip4>;
				cooling-device = <&fan0 2 3>;
			};
		};
	};

	pf09 {
		polling-delay-passive = <250>;
		polling-delay = <2000>;
		thermal-sensors = <&scmi_sensor 2>;
		trips {
			pf09_alert: trip0 {
				temperature = <140000>;
				hysteresis = <2000>;
				type = "passive";
			};

			pf09_crit: trip1 {
				temperature = <155000>;
				hysteresis = <2000>;
				type = "critical";
			};
		};
	};

	pf53_arm {
		polling-delay-passive = <250>;
		polling-delay = <2000>;
		thermal-sensors = <&scmi_sensor 4>;
		trips {
			pf5301_alert: trip0 {
				temperature = <140000>;
				hysteresis = <2000>;
				type = "passive";
			};

			pf5301_crit: trip1 {
				temperature = <155000>;
				hysteresis = <2000>;
				type = "critical";
			};
		};

		cooling-maps {
			map0 {
				trip = <&pf5301_alert>;
				cooling-device =
					<&A55_0 THERMAL_NO_LIMIT THERMAL_NO_LIMIT>,
					<&A55_1 THERMAL_NO_LIMIT THERMAL_NO_LIMIT>,
					<&A55_2 THERMAL_NO_LIMIT THERMAL_NO_LIMIT>,
					<&A55_3 THERMAL_NO_LIMIT THERMAL_NO_LIMIT>,
					<&A55_4 THERMAL_NO_LIMIT THERMAL_NO_LIMIT>,
					<&A55_5 THERMAL_NO_LIMIT THERMAL_NO_LIMIT>;
			};
		};
	};

	pf53_soc {
		polling-delay-passive = <250>;
		polling-delay = <2000>;
		thermal-sensors = <&scmi_sensor 3>;
		trips {
			pf5302_alert: trip0 {
				temperature = <140000>;
				hysteresis = <2000>;
				type = "passive";
			};

			pf5302_crit: trip1 {
				temperature = <155000>;
				hysteresis = <2000>;
				type = "critical";
			};
		};
	};
};

&tpm6 {
	pinctrl-names = "default";
	pinctrl-0 = <&pinctrl_tpm6>;
	pwm-rst;
	status = "okay";
};

&vpuctrl {
	boot = <&vpu_boot>;
	sram = <&sram1>;
};
